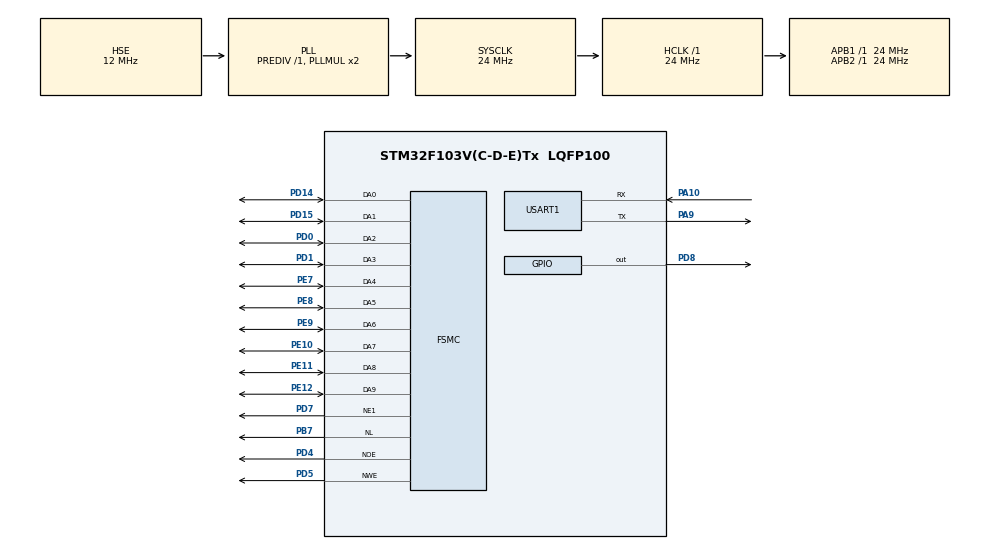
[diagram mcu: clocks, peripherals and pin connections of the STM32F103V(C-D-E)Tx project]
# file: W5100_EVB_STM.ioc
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FSMC.AddressHoldTime1=0x01
FSMC.AddressSetupTime1=0x03
FSMC.BusTurnAroundDuration1=0x00
FSMC.DataSetupTime1=0x08
FSMC.WriteOperation1=FSMC_WRITE_OPERATION_ENABLE
Mcu.Family=STM32F1
Mcu.Name=STM32F103V(C-D-E)Tx
Mcu.Package=LQFP100
NVIC.PriorityGroup=NVIC_PRIORITYGROUP_4
NVIC.USART1_IRQn=true\:1\:0\:true\:false\:true\:true\:true\:true
OSC_IN.Mode=HSE-External-Oscillator
OSC_IN.Signal=RCC_OSC_IN
OSC_OUT.Mode=HSE-External-Oscillator
OSC_OUT.Signal=RCC_OSC_OUT
PA10.Mode=Asynchronous
PA10.Signal=USART1_RX
PA9.Mode=Asynchronous
PA9.Signal=USART1_TX
PB7.Signal=FSMC_NL
PC13-TAMPER-RTC.Signal=RTC_OUT
PD0.Mode=10b-da1
PD0.Signal=FSMC_DA2
PD1.Mode=10b-da1
PD1.Signal=FSMC_DA3
PD14.Mode=10b-da1
PD14.Signal=FSMC_DA0
PD15.Mode=10b-da1
PD15.Signal=FSMC_DA1
PD4.Mode=MuxedPsram1
PD4.Signal=FSMC_NOE
PD5.Mode=MuxedPsram1
PD5.Signal=FSMC_NWE
PD7.Mode=NorPsramChipSelect1_1
PD7.Signal=FSMC_NE1
PD8.Signal=GPIO_Output
PE10.Mode=10b-da1
PE10.Signal=FSMC_DA7
PE11.Mode=10b-da1
PE11.Signal=FSMC_DA8
PE12.Mode=10b-da1
PE12.Signal=FSMC_DA9
PE7.Mode=10b-da1
PE7.Signal=FSMC_DA4
PE8.Mode=10b-da1
PE8.Signal=FSMC_DA5
PE9.Mode=10b-da1
PE9.Signal=FSMC_DA6
ProjectManager.HeapSize=0x200
ProjectManager.StackSize=0x400
ProjectManager.TargetToolchain=STM32CubeIDE
RCC.AHBFreq_Value=24000000
RCC.APB1Freq_Value=24000000
RCC.APB1TimFreq_Value=24000000
RCC.APB2Freq_Value=24000000
RCC.APB2TimFreq_Value=24000000
RCC.HCLKFreq_Value=24000000
RCC.HSE_VALUE=12000000
RCC.HSIKERON=false
RCC.MSIAutoCalibration=DISABLED
RCC.MSICalibrationValue=16
RCC.MSIKERON=false
RCC.MSIPLLFAST=false
RCC.PLL1MBOOST=RCC_PLLMBOOST_DIV1
RCC.PLL1_VCI_Range=RCC_PLLVCIRANGE_0
RCC.PLL2_VCI_Range=RCC_PLLVCIRANGE_1
RCC.PLL3_VCI_Range=RCC_PLLVCIRANGE_1
RCC.PLLSourceVirtual=RCC_PLLSOURCE_HSE
RCC.PWR_Regulator_Voltage_Scale=PWR_REGULATOR_VOLTAGE_SCALE1
RCC.SYSCLKFreq_VALUE=24000000
RCC.SYSCLKSource=RCC_SYSCLKSOURCE_PLLCLK
RCC.USBFreq_Value=24000000
SH.FSMC_NL.0=FSMC_NL,AddressValid1
USART1.VirtualMode=VM_ASYNC
board=custom

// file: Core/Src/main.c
/* USER CODE BEGIN Header */
/**
  ******************************************************************************
  * @file           : main.c
  * @brief          : Main program body
  ******************************************************************************
  * @attention
  *
  * Copyright (c) 2022 STMicroelectronics.
  * All rights reserved.
  *
  * This software is licensed under terms that can be found in the LICENSE file
  * in the root directory of this software component.
  * If no LICENSE file comes with this software, it is provided AS-IS.
  *
  ******************************************************************************
  */
/* USER CODE END Header */
#include "main.h"

/* USER CODE BEGIN Includes */

#include "socket.h"
#include "wizchip_conf.h"
#include "w5100s.h"

/* USER CODE END Includes */

/* USER CODE BEGIN PTD */

/* CHIP SETTING */
#define _USE_W5100S_OPTIMIZE				1

#define W5100S_RESET_PIN		GPIO_PIN_8
#define W5100S_RESET_PORT		GPIOD
#define W5100S_CS_PIN			GPIO_PIN_7
#define W5100S_CS_PORT			GPIOD
#define W5100S_INT_PIN			GPIO_PIN_9
#define W5100S_INT_PORT			GPIOD

#define RESET_W5100S_GPIO_Port	GPIOD
#define RESET_W5100S_Pin		GPIO_PIN_8

/* SOCKET */
#define SOCKET_DHCP 0
#define SOCKET_LOOP 1

/* ETH */
#define ETH_MAX_BUF_SIZE		2048

/* DHCP */
enum
	{
	   DHCP_FAILED = 0,  ///< Processing Fail
	   DHCP_RUNNING,     ///< Processing DHCP protocol
	   DHCP_IP_ASSIGN,   ///< First Occupy IP from DHPC server      (if cbfunc == null, act as default default_ip_assign)
	   DHCP_IP_CHANGED,  ///< Change IP address by new ip from DHCP (if cbfunc == null, act as default default_ip_update)
	   DHCP_IP_LEASED,   ///< Stand by
	   DHCP_STOPPED      ///< Stop processing DHCP protocol
	};

#define DHCP_RETRY_COUNT 5

/* BUS */
#if 0
#define W5100S_BANK_ADDR                 ((uint32_t)0x60000000)//((uint32_t)0x64000000)
#define _W5100S_DATA(p)                  (*(volatile unsigned short*) (W5100S_BANK_ADDR + (p<<1)))
#endif

/* USER CODE END PTD */

UART_HandleTypeDef huart1;

SRAM_HandleTypeDef hsram1;

/* USER CODE BEGIN PV */

/* NET */
wiz_NetInfo gWIZNETINFO = {
		.mac = {0x00, 0x08, 0xdc, 0x6f, 0x00, 0x8a},
		.ip = {192, 168, 11, 105},
		.sn = {255, 255, 255, 0},
		.gw = {192, 168, 11, 1},
		.dns = {8, 8, 8, 8},
		.dhcp = NETINFO_DHCP
};

uint8_t ethBuf0[ETH_MAX_BUF_SIZE];

/* DHCP */
static uint8_t g_dhcp_get_ip_flag = 0;

/* UART */
uint8_t rxData[2];

/* SPI_DMA */
#define SPI_DMA_TXRX_BUF_SIZE 1024
uint8_t tx_buf[SPI_DMA_TXRX_BUF_SIZE];
uint8_t rx_buf[SPI_DMA_TXRX_BUF_SIZE];

/* USER CODE END PV */

void SystemClock_Config(void);
static void MX_GPIO_Init(void);
static void MX_USART1_UART_Init(void);
static void MX_FSMC_Init(void);
/* USER CODE BEGIN PFP */

void print_network_information(wiz_NetInfo* WIZNETINFO);

/* UART */
int _write(int fd, char *str, int len)
{
	for(int i=0; i<len; i++)
	{
		HAL_UART_Transmit(&huart1, (uint8_t *)&str[i], 1, 0xFFFF);
	}
	return len;
}

void HAL_UART_RxCpltCallback(UART_HandleTypeDef *huart) {

    /*
        This will be called once data is received successfully,
        via interrupts.
    */

     /*
       loop back received data
     */
     HAL_UART_Receive_IT(&huart1, rxData, 1);
     HAL_UART_Transmit(&huart1, rxData, 1, 1000);
}

/* CHIP SETTING */
void wizchip_reset()
{
	HAL_GPIO_WritePin(RESET_W5100S_GPIO_Port, RESET_W5100S_Pin, GPIO_PIN_RESET);
	HAL_Delay(10);
	HAL_GPIO_WritePin(RESET_W5100S_GPIO_Port, RESET_W5100S_Pin, GPIO_PIN_SET);
	HAL_Delay(100);
}
//for bus
#if 0
void W5100S_write(uint32_t addr, iodata_t wd)
{
	_W5100S_DATA(addr) = wd;
}
iodata_t W5100S_read(uint32_t addr)
{
	return _W5100S_DATA(addr);
}
#endif

void wizchip_check(void)
{
    /* Read version register */
    if (getVER() != 0x51) // W5100S
    {
        printf(" ACCESS ERR : VERSIONR != 0x51, read value = 0x%02x\n", getVER());
        while (1);
    }
    else //for test
    {
    	printf("ver info get!\n");

    }
}

void wizchip_initialize(void)
{
	uint8_t W5100S_AdrSet[2][4]= {{2,2,2,2},{2,2,2,2}};
    uint8_t tmp1, tmp2;
	intr_kind temp= IK_DEST_UNREACH;
	printf("\n=============================================2_1\n");
	if (ctlwizchip(CW_INIT_WIZCHIP, (void*)W5100S_AdrSet) == -1)
	{
		printf(">>>>W5100s memory initialization failed\r\n");
	}
	printf("\n=============================================2_2\n");
	if(ctlwizchip(CW_SET_INTRMASK,&temp) == -1)
	{
		printf("W5100S interrupt\r\n");
	}
	wizchip_check();
	while(1)
	{
		ctlwizchip(CW_GET_PHYLINK, &tmp1 );
		ctlwizchip(CW_GET_PHYLINK, &tmp2 );
		if(tmp1==PHY_LINK_ON && tmp2==PHY_LINK_ON) break;
	}
}

void print_network_information(wiz_NetInfo* WIZNETINFO)
{
    printf("Mac address: %02x:%02x:%02x:%02x:%02x:%02x\n\r",WIZNETINFO->mac[0],WIZNETINFO->mac[1],WIZNETINFO->mac[2],WIZNETINFO->mac[3],WIZNETINFO->mac[4],WIZNETINFO->mac[5]);
    printf("IP address : %d.%d.%d.%d\n\r",WIZNETINFO->ip[0],WIZNETINFO->ip[1],WIZNETINFO->ip[2],WIZNETINFO->ip[3]);
    printf("SM Mask    : %d.%d.%d.%d\n\r",WIZNETINFO->sn[0],WIZNETINFO->sn[1],WIZNETINFO->sn[2],WIZNETINFO->sn[3]);
    printf("Gate way   : %d.%d.%d.%d\n\r",WIZNETINFO->gw[0],WIZNETINFO->gw[1],WIZNETINFO->gw[2],WIZNETINFO->gw[3]);
    printf("DNS Server : %d.%d.%d.%d\n\r",WIZNETINFO->dns[0],WIZNETINFO->dns[1],WIZNETINFO->dns[2],WIZNETINFO->dns[3]);
}
#if _WIZCHIP_IO_MODE_ & _WIZCHIP_IO_MODE_SPI_
/* SPI */
uint8_t spiReadByte(void)
{
	uint8_t readByte=0;
	uint8_t writeByte=0xFF;

	while(HAL_SPI_GetState(&hspi2)!=HAL_SPI_STATE_READY);
	HAL_SPI_TransmitReceive(&hspi2, &writeByte, &readByte, 1, 10);

	return readByte;
}

void spiWriteByte(uint8_t writeByte)
{
	uint8_t readByte=0;

	while(HAL_SPI_GetState(&hspi2)!=HAL_SPI_STATE_READY);
	HAL_SPI_TransmitReceive(&hspi2, &writeByte, &readByte, 1, 10);

}

/**@brief Change SPI State to READY
*/
void HAL_SPI_STATE_CHANGE(SPI_HandleTypeDef *hspi)
{
  hspi->State = HAL_SPI_STATE_READY;
}

void spiReadBurst(uint8_t* pBuf, uint16_t len)
{
	HAL_StatusTypeDef ret;
	uint8_t writeByte=0xFF;

	printf("DMA_R\n");

	if (hspi2.hdmarx== NULL || hspi2.hdmatx== NULL)
	{
		printf("NULL instance---");
		return;
	}
/*
	hspi2.hdmarx->Instance = DMA1_Channel4;
	hspi2.hdmarx->DmaBaseAddress= pBuf;
	hspi2.hdmarx->Init.MemDataAlignment= len;
	HAL_DMA_Init(&hdma_spi2_rx);

	hspi2.hdmatx->Instance = DMA1_Channel5;
	hspi2.hdmatx->DmaBaseAddress= &writeByte;
	hspi2.hdmatx->Init.MemDataAlignment= len;
	HAL_DMA_Init(&hdma_spi2_tx);

	__HAL_DMA_ENABLE(&hdma_spi2_tx);
	__HAL_DMA_ENABLE(&hdma_spi2_rx);
*/

	while (HAL_DMA_GetState(&hdma_spi2_tx) != HAL_DMA_STATE_READY);
	while (HAL_DMA_GetState(&hdma_spi2_rx) != HAL_DMA_STATE_READY);
	//while (HAL_SPI_GetState(&hspi2) != HAL_SPI_STATE_READY);

	ret=HAL_SPI_TransmitReceive_DMA(&hspi2, &writeByte, pBuf, len);
	if (ret!= HAL_OK)
	{
		printf(" >read failed: %d\n",  ret);
	}

	while (HAL_DMA_GetState(&hdma_spi2_tx) == HAL_DMA_STATE_RESET);
	while (HAL_DMA_GetState(&hdma_spi2_rx) == HAL_DMA_STATE_RESET);

	printf("read data: %.*s\n", len, pBuf);
	printf("read DMA state: rx%d,tx%d,spi%d\n", HAL_DMA_GetState(&hdma_spi2_rx), HAL_DMA_GetState(&hdma_spi2_tx), HAL_SPI_GetState(&hspi2));

	//__HAL_DMA_DISABLE(&hdma_spi2_tx);
	//__HAL_DMA_DISABLE(&hdma_spi2_rx);
	//HAL_SPI_STATE_CHANGE(&hspi2);

	return;
}

void spiWriteBurst(uint8_t* pBuf, uint16_t len)
{
	HAL_StatusTypeDef ret;
	uint8_t readByte;

	printf("DMA_W\n");
	if (hspi2.hdmarx== NULL || hspi2.hdmatx== NULL)
	{
		printf("NULL instance---");
		return;
	}
/*
	hspi2.hdmarx->Instance = DMA1_Channel4;
	hspi2.hdmarx->Init.MemDataAlignment= len;
	hspi2.hdmarx->Init.Mode=DMA_CIRCULAR;
	HAL_DMA_Init(&hdma_spi2_rx);

	hspi2.hdmatx->Instance = DMA1_Channel5;
	hspi2.hdmatx->DmaBaseAddress= pBuf;
	hspi2.hdmatx->Init.MemDataAlignment= len;
	HAL_DMA_Init(&hdma_spi2_tx);

	__HAL_DMA_ENABLE(&hdma_spi2_tx);
	__HAL_DMA_ENABLE(&hdma_spi2_rx);
*/
	while (HAL_DMA_GetState(&hdma_spi2_tx) != HAL_DMA_STATE_READY);
	while (HAL_DMA_GetState(&hdma_spi2_rx) != HAL_DMA_STATE_READY);
	//while (HAL_SPI_GetState(&hspi2) != HAL_SPI_STATE_READY);

	ret=HAL_SPI_TransmitReceive_DMA(&hspi2, (uint8_t*)pBuf, (uint8_t *)readByte, len);
	if (ret!= HAL_OK)
	{
		printf(" >write failed: %d\n",  ret);
	}
	while (HAL_DMA_GetState(&hdma_spi2_tx) == HAL_DMA_STATE_RESET);
	while (HAL_DMA_GetState(&hdma_spi2_rx) == HAL_DMA_STATE_RESET);
	while (HAL_SPI_GetState(&hspi2) == HAL_SPI_STATE_RESET);

	printf("Write data: %.*s\n", len, pBuf);
	printf("write DMA state: rx%d,tx%d,spi%d\n", HAL_DMA_GetState(&hdma_spi2_rx), HAL_DMA_GetState(&hdma_spi2_tx), HAL_SPI_GetState(&hspi2));
	//HAL_SPI_STATE_CHANGE(&hspi2);

	//__HAL_DMA_DISABLE(&hdma_spi2_tx);
	//__HAL_DMA_DISABLE(&hdma_spi2_rx);

	return;
}
#else

//#define W5100SAddress  ((uint32_t)0x60000000)
iodata_t busReadByte(uint32_t addr)
{
	//(*((volatile uint8_t*)(W5100SAddress+1))) = (uint8_t)((addr &0xFF00)>>8);
	//(*((volatile uint8_t*)(W5100SAddress+2))) = (uint8_t)((addr) & 0x00FF);

	//return  (*((volatile uint8_t*)(W5100SAddress+3)));

	printf(" read addr: %2x, <%d \n", addr, (*((volatile uint8_t*)(addr))));
	return (*((volatile uint8_t*)(addr)));
}

void busWriteByte(uint32_t addr, iodata_t data)
{
	printf(" write addr: %2x, >%d \n", addr, data);
	(*(volatile uint8_t*)(addr)) = data;
}
#endif

#if 0
void busWriteBurst(uint32_t addr, uint8_t* pBuf ,uint32_t len)
{

	DMA_TX_InitStructure.DMA_BufferSize = len;
	DMA_TX_InitStructure.DMA_MemoryBaseAddr = addr;
	DMA_TX_InitStructure.DMA_PeripheralBaseAddr = pBuf;

	DMA_Init(W5100S_DMA_CHANNEL_TX, &DMA_TX_InitStructure);

	DMA_Cmd(W5100S_DMA_CHANNEL_TX, ENABLE);

	while(DMA_GetFlagStatus(DMA_TX_FLAG) == RESET);

	DMA_ClearFlag(DMA_TX_FLAG);

	DMA_Cmd(W5100S_DMA_CHANNEL_TX, DISABLE);

}

void busReadBurst(uint32_t addr,uint8_t* pBuf, uint32_t len)
{

		DMA_RX_InitStructure.DMA_BufferSize = len;
		DMA_RX_InitStructure.DMA_MemoryBaseAddr =pBuf;
		DMA_RX_InitStructure.DMA_PeripheralBaseAddr =addr;

		DMA_Init(W5100S_DMA_CHANNEL_RX, &DMA_RX_InitStructure);

		DMA_Cmd(W5100S_DMA_CHANNEL_RX, ENABLE);
		/* Waiting for the end of Data Transfer */
		while(DMA_GetFlagStatus(DMA_RX_FLAG) == RESET);

		DMA_ClearFlag(DMA_RX_FLAG);

		DMA_Cmd(W5100S_DMA_CHANNEL_RX, DISABLE);

}

#endif

void csEnable(void)
{
	HAL_GPIO_WritePin(W5100S_CS_PORT, W5100S_CS_PIN, GPIO_PIN_RESET);
}

void csDisable(void)
{
	HAL_GPIO_WritePin(W5100S_CS_PORT, W5100S_CS_PIN, GPIO_PIN_SET);
}

/* DHCP */
void wizchip_dhcp_assign(void)
{
    getIPfromDHCP(gWIZNETINFO.ip);
    getGWfromDHCP(gWIZNETINFO.gw);
    getSNfromDHCP(gWIZNETINFO.sn);
    getDNSfromDHCP(gWIZNETINFO.dns);

    ctlnetwork(CN_SET_NETINFO, (void*) &gWIZNETINFO);
    printf("\r\n----------DHCP Net Information--------------\r\n");
    print_network_information(&gWIZNETINFO);
}

void wizchip_dhcp_update(void)
{
    ;
}

void wizchip_dhcp_conflict(void)
{
    ;
}

static void wizchip_dhcp_init(void)
{
    printf(" DHCP client running\n");

    DHCP_init(SOCKET_DHCP, ethBuf0);
    reg_dhcp_cbfunc(wizchip_dhcp_assign, wizchip_dhcp_assign, wizchip_dhcp_conflict);
}

void wizchip_dhcp_running(void)
{
    uint8_t retval = 0;
    uint8_t dhcp_retry = 0;

    retval = DHCP_run();
    if (retval == DHCP_IP_LEASED )
    {
    	if (g_dhcp_get_ip_flag == 0)
    	{
    		printf(" DHCP success\n");
    		g_dhcp_get_ip_flag = 1;
    	}
    }
    else if (retval == DHCP_FAILED)
    {
    	g_dhcp_get_ip_flag = 0;
    	dhcp_retry++;

    	if (dhcp_retry <= DHCP_RETRY_COUNT)
    	{
    		printf(" DHCP timeout occurred and retry %d\n", dhcp_retry);
    	}
    }

    if (dhcp_retry > DHCP_RETRY_COUNT)
    {
    	printf(" DHCP failed\n");
    	DHCP_stop();

    	while (1);
    }
}
/* USER CODE END PFP */

/* USER CODE BEGIN 0 */
/**
 * @brief  The call back function of ip assign.
 * @note
 * @param  None
 * @retval None
 */

/* USER CODE END 0 */

int main(void)
{
  /* USER CODE BEGIN 1 */
    wiz_NetInfo WIZNETINFO;
  /* USER CODE END 1 */

  /* MCU Configuration--------------------------------------------------------*/

  /* Reset of all peripherals, Initializes the Flash interface and the Systick. */
  HAL_Init();

  /* Configure the system clock */
  SystemClock_Config();

  /* Initialize all configured peripherals */
  MX_GPIO_Init();
  MX_USART1_UART_Init();
  MX_FSMC_Init();
  /* USER CODE BEGIN 2 */
  HAL_RCC_GetSysClockFreq();
  HAL_UART_Receive_IT(&huart1, rxData, 1);

  wizchip_reset();

  printf("\n=============================================1\n");
#if _WIZCHIP_IO_MODE_ & _WIZCHIP_IO_MODE_SPI_
  csDisable();
  reg_wizchip_cs_cbfunc(csEnable,csDisable);// CS function register

  reg_wizchip_spi_cbfunc(spiReadByte, spiWriteByte);// SPI method callback registration
  reg_wizchip_spiburst_cbfunc(spiReadBurst, spiWriteBurst);// use DMA
  csEnable();
#else
	// Indirect bus method callback registration
	reg_wizchip_bus_cbfunc(busReadByte, busWriteByte);
	printf("\n=============================================2\n");
#endif
  wizchip_initialize();
  printf("\n=============================================3\n");
   if (gWIZNETINFO.dhcp == NETINFO_DHCP) // DHCP
   {
	   setSHAR(gWIZNETINFO.mac);
	   wizchip_dhcp_init();
   }
   else
   {
	   ctlnetwork(CN_SET_NETINFO, (void *)&gWIZNETINFO);

	   memset(&WIZNETINFO, 0x00, sizeof(wiz_NetInfo));
	   wizchip_getnetinfo(&WIZNETINFO);
	   print_network_information(&WIZNETINFO);
   }
  /* USER CODE END 2 */

  /* Infinite loop */
  /* USER CODE BEGIN WHILE */
  while (1)
  {
	  /* Assigned IP through DHCP */
	  if (gWIZNETINFO.dhcp == NETINFO_DHCP)
	  {
		  wizchip_dhcp_running();
	  }

	  loopback_tcps(SOCKET_LOOP, ethBuf0, 3000);

    /* USER CODE END WHILE */

  }
}

void SystemClock_Config(void)
{
  RCC_OscInitTypeDef RCC_OscInitStruct = {0};
  RCC_ClkInitTypeDef RCC_ClkInitStruct = {0};

  /** Initializes the RCC Oscillators according to the specified parameters
  * in the RCC_OscInitTypeDef structure.
  */
  RCC_OscInitStruct.OscillatorType = RCC_OSCILLATORTYPE_HSE;
  RCC_OscInitStruct.HSEState = RCC_HSE_ON;
  RCC_OscInitStruct.HSEPredivValue = RCC_HSE_PREDIV_DIV1;
  RCC_OscInitStruct.HSIState = RCC_HSI_ON;
  RCC_OscInitStruct.PLL.PLLState = RCC_PLL_ON;
  RCC_OscInitStruct.PLL.PLLSource = RCC_PLLSOURCE_HSE;
  RCC_OscInitStruct.PLL.PLLMUL = RCC_PLL_MUL2;
  if (HAL_RCC_OscConfig(&RCC_OscInitStruct) != HAL_OK)
  {
    Error_Handler();
  }

  /** Initializes the CPU, AHB and APB buses clocks
  */
  RCC_ClkInitStruct.ClockType = RCC_CLOCKTYPE_HCLK|RCC_CLOCKTYPE_SYSCLK
                              |RCC_CLOCKTYPE_PCLK1|RCC_CLOCKTYPE_PCLK2;
  RCC_ClkInitStruct.SYSCLKSource = RCC_SYSCLKSOURCE_PLLCLK;
  RCC_ClkInitStruct.AHBCLKDivider = RCC_SYSCLK_DIV1;
  RCC_ClkInitStruct.APB1CLKDivider = RCC_HCLK_DIV1;
  RCC_ClkInitStruct.APB2CLKDivider = RCC_HCLK_DIV1;

  if (HAL_RCC_ClockConfig(&RCC_ClkInitStruct, FLASH_LATENCY_0) != HAL_OK)
  {
    Error_Handler();
  }
}

static void MX_USART1_UART_Init(void)
{

  huart1.Instance = USART1;
  huart1.Init.BaudRate = 115200;
  huart1.Init.WordLength = UART_WORDLENGTH_8B;
  huart1.Init.StopBits = UART_STOPBITS_1;
  huart1.Init.Parity = UART_PARITY_NONE;
  huart1.Init.Mode = UART_MODE_TX_RX;
  huart1.Init.HwFlowCtl = UART_HWCONTROL_NONE;
  huart1.Init.OverSampling = UART_OVERSAMPLING_16;
  if (HAL_UART_Init(&huart1) != HAL_OK)
  {
    Error_Handler();
  }

}

static void MX_GPIO_Init(void)
{
  GPIO_InitTypeDef GPIO_InitStruct = {0};

  /* GPIO Ports Clock Enable */
  __HAL_RCC_GPIOC_CLK_ENABLE();
  __HAL_RCC_GPIOE_CLK_ENABLE();
  __HAL_RCC_GPIOD_CLK_ENABLE();
  __HAL_RCC_GPIOA_CLK_ENABLE();
  __HAL_RCC_GPIOB_CLK_ENABLE();

  /*Configure GPIO pin Output Level */
  HAL_GPIO_WritePin(GPIOD, GPIO_PIN_8, GPIO_PIN_RESET);

  /*Configure GPIO pin : PD8 */
  GPIO_InitStruct.Pin = GPIO_PIN_8;
  GPIO_InitStruct.Mode = GPIO_MODE_OUTPUT_PP;
  GPIO_InitStruct.Pull = GPIO_NOPULL;
  GPIO_InitStruct.Speed = GPIO_SPEED_FREQ_LOW;
  HAL_GPIO_Init(GPIOD, &GPIO_InitStruct);

}

/* FSMC initialization function */
static void MX_FSMC_Init(void)
{

  FSMC_NORSRAM_TimingTypeDef Timing = {0};

  /** Perform the SRAM1 memory initialization sequence
  */
  hsram1.Instance = FSMC_NORSRAM_DEVICE;
  hsram1.Extended = FSMC_NORSRAM_EXTENDED_DEVICE;
  /* hsram1.Init */
  hsram1.Init.NSBank = FSMC_NORSRAM_BANK1;
  hsram1.Init.DataAddressMux = FSMC_DATA_ADDRESS_MUX_ENABLE;
  hsram1.Init.MemoryType = FSMC_MEMORY_TYPE_PSRAM;
  hsram1.Init.MemoryDataWidth = FSMC_NORSRAM_MEM_BUS_WIDTH_8;
  hsram1.Init.BurstAccessMode = FSMC_BURST_ACCESS_MODE_DISABLE;
  hsram1.Init.WaitSignalPolarity = FSMC_WAIT_SIGNAL_POLARITY_LOW;
  hsram1.Init.WrapMode = FSMC_WRAP_MODE_DISABLE;
  hsram1.Init.WaitSignalActive = FSMC_WAIT_TIMING_BEFORE_WS;
  hsram1.Init.WriteOperation = FSMC_WRITE_OPERATION_ENABLE;
  hsram1.Init.WaitSignal = FSMC_WAIT_SIGNAL_DISABLE;
  hsram1.Init.ExtendedMode = FSMC_EXTENDED_MODE_DISABLE;
  hsram1.Init.AsynchronousWait = FSMC_ASYNCHRONOUS_WAIT_DISABLE;
  hsram1.Init.WriteBurst = FSMC_WRITE_BURST_DISABLE;
  /* Timing */
  Timing.AddressSetupTime = 0x03;
  Timing.AddressHoldTime = 0x01;
  Timing.DataSetupTime = 0x08;
  Timing.BusTurnAroundDuration = 0x00;
  Timing.CLKDivision = 16;
  Timing.DataLatency = 17;
  Timing.AccessMode = FSMC_ACCESS_MODE_A;
  /* ExtTiming */

  if (HAL_SRAM_Init(&hsram1, &Timing, NULL) != HAL_OK)
  {
    Error_Handler( );
  }

}

void Error_Handler(void)
{
  __disable_irq();
  while (1)
  {
  }
}
